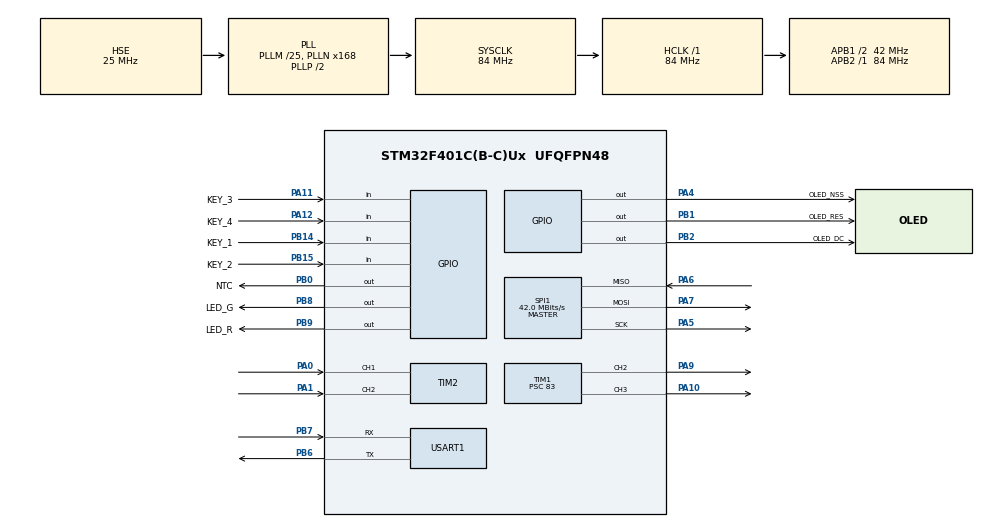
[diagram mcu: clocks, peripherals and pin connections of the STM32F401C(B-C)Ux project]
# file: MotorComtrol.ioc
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Mcu.Family=STM32F4
Mcu.Name=STM32F401C(B-C)Ux
Mcu.Package=UFQFPN48
NVIC.PriorityGroup=NVIC_PRIORITYGROUP_4
NVIC.TIM1_TRG_COM_TIM11_IRQn=true\:0\:0\:false\:false\:true\:true\:true\:true
PA0-WKUP.Signal=S_TIM2_CH1_ETR
PA1.Signal=S_TIM2_CH2
PA10.Signal=S_TIM1_CH3
PA11.GPIO_Label=KEY_3
PA11.GPIO_PuPd=GPIO_PULLUP
PA11.Signal=GPIO_Input
PA12.GPIO_Label=KEY_4
PA12.GPIO_PuPd=GPIO_PULLUP
PA12.Signal=GPIO_Input
PA4.GPIO_Label=OLED_NSS
PA4.Signal=GPIO_Output
PA5.Mode=Full_Duplex_Master
PA5.Signal=SPI1_SCK
PA6.Mode=Full_Duplex_Master
PA6.Signal=SPI1_MISO
PA7.Mode=Full_Duplex_Master
PA7.Signal=SPI1_MOSI
PA9.Signal=S_TIM1_CH2
PB0.GPIO_Label=NTC
PB0.Signal=GPIO_Output
PB1.GPIO_Label=OLED_RES
PB1.Signal=GPIO_Output
PB14.GPIO_Label=KEY_1
PB14.GPIO_PuPd=GPIO_PULLUP
PB14.Signal=GPIO_Input
PB15.GPIO_Label=KEY_2
PB15.GPIO_PuPd=GPIO_PULLUP
PB15.Signal=GPIO_Input
PB2.GPIO_Label=OLED_DC
PB2.Signal=GPIO_Output
PB6.Mode=Asynchronous
PB6.Signal=USART1_TX
PB7.Mode=Asynchronous
PB7.Signal=USART1_RX
PB8.GPIO_Label=LED_G
PB8.Signal=GPIO_Output
PB9.GPIO_Label=LED_R
PB9.Signal=GPIO_Output
PH0\ -\ OSC_IN.Mode=HSE-External-Oscillator
PH0\ -\ OSC_IN.Signal=RCC_OSC_IN
PH1\ -\ OSC_OUT.Mode=HSE-External-Oscillator
PH1\ -\ OSC_OUT.Signal=RCC_OSC_OUT
ProjectManager.HeapSize=0x200
ProjectManager.StackSize=0x400
ProjectManager.TargetToolchain=STM32CubeIDE
RCC.48MHZClocksFreq_Value=42000000
RCC.AHBFreq_Value=84000000
RCC.APB1CLKDivider=RCC_HCLK_DIV2
RCC.APB1Freq_Value=42000000
RCC.APB1TimFreq_Value=84000000
RCC.APB2Freq_Value=84000000
RCC.APB2TimFreq_Value=84000000
RCC.CortexFreq_Value=84000000
RCC.HCLKFreq_Value=84000000
RCC.HSE_VALUE=25000000
RCC.HSI_VALUE=16000000
RCC.LSE_VALUE=32768
RCC.PLLM=25
RCC.PLLN=168
RCC.PLLSourceVirtual=RCC_PLLSOURCE_HSE
RCC.SYSCLKFreq_VALUE=84000000
RCC.SYSCLKSource=RCC_SYSCLKSOURCE_PLLCLK
RCC.VCOOutputFreq_Value=168000000
SH.S_TIM1_CH2.0=TIM1_CH2,PWM Generation2 CH2
SH.S_TIM1_CH3.0=TIM1_CH3,PWM Generation3 CH3
SH.S_TIM2_CH1_ETR.0=TIM2_CH1,Encoder_Interface
SH.S_TIM2_CH2.0=TIM2_CH2,Encoder_Interface
SPI1.CLKPhase=SPI_PHASE_2EDGE
SPI1.CLKPolarity=SPI_POLARITY_HIGH
SPI1.CalculateBaudRate=42.0 MBits/s
SPI1.Direction=SPI_DIRECTION_2LINES
SPI1.Mode=SPI_MODE_MASTER
SPI1.VirtualType=VM_MASTER
TIM1.AutoReloadPreload=TIM_AUTORELOAD_PRELOAD_ENABLE
TIM1.Channel-PWM\ Generation2\ CH2=TIM_CHANNEL_2
TIM1.Channel-PWM\ Generation3\ CH3=TIM_CHANNEL_3
TIM1.Period=99
TIM1.Prescaler=83
TIM11.Period=9999
TIM11.Prescaler=167
TIM2.EncoderMode=TIM_ENCODERMODE_TI12
USART1.VirtualMode=VM_ASYNC
VP_TIM11_VS_ClockSourceINT.Mode=Enable_Timer
VP_TIM1_VS_ClockSourceINT.Mode=Internal
board=custom

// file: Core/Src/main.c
/* USER CODE BEGIN Header */
/**
  ******************************************************************************
  * @file           : main.c
  * @brief          : Main program body
  ******************************************************************************
  * @attention
  *
  * Copyright (c) 2023 STMicroelectronics.
  * All rights reserved.
  *
  * This software is licensed under terms that can be found in the LICENSE file
  * in the root directory of this software component.
  * If no LICENSE file comes with this software, it is provided AS-IS.
  *
  ******************************************************************************
  */
/* USER CODE END Header */
#include "main.h"
#include "spi.h"
#include "tim.h"
#include "usart.h"
#include "gpio.h"

/* USER CODE BEGIN Includes */
#include "PID/pid.h"
#include "utils.h"
#include "printf.h"
#include "u8g2/u8g2.h"
#include "u8g2/u8x8.h"
#include "CommonKey/comKey.h"
#include <string.h>
#include <math.h>
#include <stdlib.h>
/* USER CODE END Includes */

/* USER CODE BEGIN PV */
u8g2_t u8g2;
/* USER CODE END PV */

void SystemClock_Config(void);
/* USER CODE BEGIN PFP */
uint8_t u8x8_byte_4wire_hw_spi(u8x8_t *u8x8, uint8_t msg, uint8_t arg_int, void *arg_ptr);

uint8_t u8x8_gpio_and_delay(U8X8_UNUSED u8x8_t *u8x8, U8X8_UNUSED uint8_t msg,
                            U8X8_UNUSED uint8_t arg_int, U8X8_UNUSED void *arg_ptr);
/* USER CODE END PFP */

int main(void)
{

  /* MCU Configuration--------------------------------------------------------*/

  /* Reset of all peripherals, Initializes the Flash interface and the Systick. */
  HAL_Init();

  /* Configure the system clock */
  SystemClock_Config();

  /* Initialize all configured peripherals */
  MX_GPIO_Init();
  MX_SPI1_Init();
  MX_TIM1_Init();
  MX_TIM2_Init();
  MX_USART1_UART_Init();
  MX_TIM11_Init();
  /* USER CODE BEGIN 2 */
    HAL_TIM_Base_Start_IT(&htim11);

    HAL_TIM_PWM_Start(&htim1, TIM_CHANNEL_2);
    HAL_TIM_PWM_Start(&htim1, TIM_CHANNEL_3);

    HAL_TIM_Encoder_Start(&htim2, TIM_CHANNEL_1);
    HAL_TIM_Encoder_Start(&htim2, TIM_CHANNEL_2);

    PID_Init(&mInstance.mPID, 0, 0.003f, 0);
    PID_Init(&mInstance.pPID, 5.0f, 0.001f, 0);

    PID_Init(&mInstance.fyPID, 0.07f, 0.002f, 0);
    PID_Init(&mInstance.fwPID, 0.07f, 0.002f, 0);

    ComKey_Init(&key1, 1);
    ComKey_Init(&key2, 1);
    ComKey_Init(&key3, 1);
    ComKey_Init(&key4, 1);

    u8g2_Setup_ssd1306_128x64_noname_1(&u8g2, U8G2_R0, u8x8_byte_4wire_hw_spi,
                                       u8x8_gpio_and_delay);
    u8g2_InitDisplay(&u8g2);
    u8g2_SetPowerSave(&u8g2, 0);

    PID_SetAim(&mInstance.fyPID, 0);
    PID_SetAim(&mInstance.fwPID, 5 * 15);

  /* USER CODE END 2 */

  /* Infinite loop */
  /* USER CODE BEGIN WHILE */
    while (1) {
        char buff[256] = {0};

        printf("data:%f,%f,%f,%f\n", mInstance.mPID.ctr.aim, mInstance.mPID.ctr.cur,
               mInstance.pPID.ctr.aim, mInstance.pPID.ctr.cur);

        switch (mInstance.menuSelect) {
            case Menu:
                u8g2_FirstPage(&u8g2);
                do {
                    u8g2_SetFont(&u8g2, u8g2_font_courR18_tf);
                    u8g2_DrawStr(&u8g2, 2, 18, "Speed");
                    u8g2_DrawStr(&u8g2, 2, 36 + 5, "Position");
                    u8g2_SetFont(&u8g2, u8g2_font_courR10_tf);
                    u8g2_DrawStr(&u8g2, 2, 36 + 20, "B20040609");

                    // Frame renderer
                    u8g2_DrawFrame(&u8g2, 2, (uint16_t) mInstance.fyPID.ctr.cur,
                                   (uint16_t) mInstance.fwPID.ctr.cur, 20);
                } while (u8g2_NextPage(&u8g2));
                break;

            case Speed:
                u8g2_FirstPage(&u8g2);
                do {
                    u8g2_SetFont(&u8g2, u8g2_font_courR10_tf);
                    sprintf(buff, "Aim:%.2f", mInstance.uiAim);
                    u8g2_DrawStr(&u8g2, 2, 12, buff);
                    sprintf(buff, "Real:%.2f", mInstance.mPID.ctr.cur);
                    u8g2_DrawStr(&u8g2, 2, 24, buff);

                    // Frame renderer
                    u8g2_DrawFrame(&u8g2, 0, (uint16_t) mInstance.fyPID.ctr.cur,
                                   (uint16_t) mInstance.fwPID.ctr.cur, 14);

                    // Aim progress bar renderer
                    u8g2_DrawFrame(&u8g2, 0, 50, 128, 6);
                    if (mInstance.uiAim >= 0)
                        u8g2_DrawBox(&u8g2, 0, 50, (uint16_t) ((float) mInstance.mPID.ctr.aim / 70.0f * 128), 6);
                    else
                        u8g2_DrawBox(&u8g2, 128 - (uint16_t) (fabsf(mInstance.mPID.ctr.aim) / 70.0f * 128), 50,
                                     (uint16_t) (fabsf(mInstance.mPID.ctr.aim) / 70.0f * 128), 6);

                    // Real progress bar renderer
                    u8g2_DrawFrame(&u8g2, 0, 58, 128, 6);
                    if (mInstance.uiAim >= 0)
                        u8g2_DrawBox(&u8g2, 0, 58, (uint16_t) ((float) mInstance.mPID.ctr.cur / 70.0f * 128), 6);
                    else
                        u8g2_DrawBox(&u8g2, 128 - (uint16_t) (fabsf(mInstance.mPID.ctr.cur) / 70.0f * 128), 58,
                                     (uint16_t) (fabsf(mInstance.mPID.ctr.cur) / 70.0f * 128), 6);
                } while (u8g2_NextPage(&u8g2));
                break;

            case Position:
                u8g2_FirstPage(&u8g2);
                do {
                    u8g2_SetFont(&u8g2, u8g2_font_courR10_tf);
                    sprintf(buff, "Aim:%.2f", mInstance.uiAim);
                    u8g2_DrawStr(&u8g2, 2, 12, buff);
                    sprintf(buff, "Real:%.2f", mInstance.pPID.ctr.cur);
                    u8g2_DrawStr(&u8g2, 2, 24, buff);

                    // Frame renderer
                    u8g2_DrawFrame(&u8g2, 0, (uint16_t) mInstance.fyPID.ctr.cur,
                                   (uint16_t) mInstance.fwPID.ctr.cur, 14);

                    // Aim progress bar renderer
                    u8g2_DrawFrame(&u8g2, 0, 50, 128, 6);
                    if (mInstance.pPID.ctr.aim == 0)
                        u8g2_DrawBox(&u8g2, 0, 50, 0, 6);
                    else
                        u8g2_DrawBox(&u8g2, 0, 50, 64, 6);
                    // Real progress bar renderer
                    u8g2_DrawFrame(&u8g2, 0, 58, 128, 6);
                    u8g2_DrawBox(&u8g2, 0, 58,
                                 (uint16_t) (mInstance.pPID.ctr.cur / mInstance.pPID.ctr.aim * 64), 6);
                } while (u8g2_NextPage(&u8g2));
                break;
        }

    /* USER CODE END WHILE */

    }
}

void SystemClock_Config(void)
{
  RCC_OscInitTypeDef RCC_OscInitStruct = {0};
  RCC_ClkInitTypeDef RCC_ClkInitStruct = {0};

  /** Configure the main internal regulator output voltage
  */
  __HAL_RCC_PWR_CLK_ENABLE();
  __HAL_PWR_VOLTAGESCALING_CONFIG(PWR_REGULATOR_VOLTAGE_SCALE2);

  /** Initializes the RCC Oscillators according to the specified parameters
  * in the RCC_OscInitTypeDef structure.
  */
  RCC_OscInitStruct.OscillatorType = RCC_OSCILLATORTYPE_HSE;
  RCC_OscInitStruct.HSEState = RCC_HSE_ON;
  RCC_OscInitStruct.PLL.PLLState = RCC_PLL_ON;
  RCC_OscInitStruct.PLL.PLLSource = RCC_PLLSOURCE_HSE;
  RCC_OscInitStruct.PLL.PLLM = 25;
  RCC_OscInitStruct.PLL.PLLN = 168;
  RCC_OscInitStruct.PLL.PLLP = RCC_PLLP_DIV2;
  RCC_OscInitStruct.PLL.PLLQ = 4;
  if (HAL_RCC_OscConfig(&RCC_OscInitStruct) != HAL_OK)
  {
    Error_Handler();
  }

  /** Initializes the CPU, AHB and APB buses clocks
  */
  RCC_ClkInitStruct.ClockType = RCC_CLOCKTYPE_HCLK|RCC_CLOCKTYPE_SYSCLK
                              |RCC_CLOCKTYPE_PCLK1|RCC_CLOCKTYPE_PCLK2;
  RCC_ClkInitStruct.SYSCLKSource = RCC_SYSCLKSOURCE_PLLCLK;
  RCC_ClkInitStruct.AHBCLKDivider = RCC_SYSCLK_DIV1;
  RCC_ClkInitStruct.APB1CLKDivider = RCC_HCLK_DIV2;
  RCC_ClkInitStruct.APB2CLKDivider = RCC_HCLK_DIV1;

  if (HAL_RCC_ClockConfig(&RCC_ClkInitStruct, FLASH_LATENCY_2) != HAL_OK)
  {
    Error_Handler();
  }
}

void Error_Handler(void)
{
    __disable_irq();
    while (1) {
    }
}
